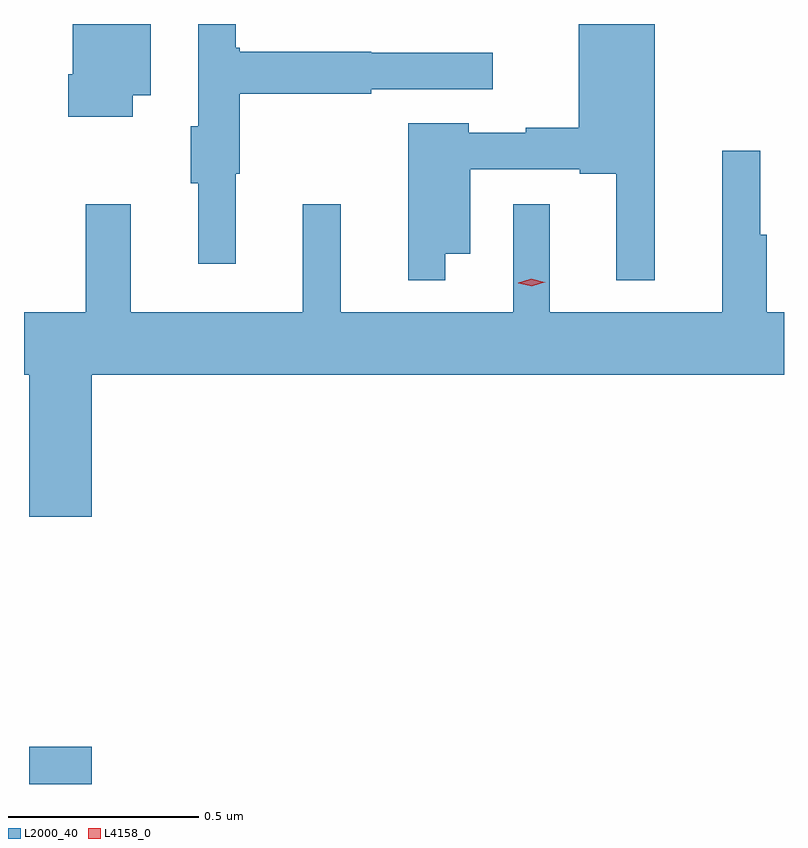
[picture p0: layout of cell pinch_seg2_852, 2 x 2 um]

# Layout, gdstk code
import gdstk
lib = gdstk.Library(unit=1e-6, precision=1e-09)
def R(c, l, rs):  # rectangles x0, y0, x1, y1
    for r in rs: c.add(gdstk.rectangle(r[:2], r[2:], *l))
def P(c, l, *ps):  # polygons
    for p in ps: c.add(gdstk.Polygon(p, *l))
L2000_40 = (2000, 40)
L4158_0 = (4158, 0)

pinch_seg2_852 = lib.new_cell('pinch_seg2_852')
R(pinch_seg2_852, L2000_40, [(728.444,593.279,728.608,593.377)])
P(pinch_seg2_852, L2000_40, [(728.987,594.885),(728.998,594.885),(728.998,595.095),(729.344,595.095),(729.344,595.107),(729.664,595.107),(729.664,595.203),(729.344,595.203),(729.344,595.206),(728.998,595.206),(728.998,595.216),(728.987,595.216),(728.987,595.279),(728.889,595.279),(728.889,595.01),(728.869,595.01),(728.869,594.86),(728.888,594.86),(728.888,594.648),(728.987,594.648)],
  [(729.539,594.674),(729.604,594.674),(729.604,594.897),(729.893,594.897),(729.893,594.885),(729.989,594.885),(729.989,594.605),(730.09,594.605),(730.09,595.279),(729.89,595.279),(729.89,595.006),(729.751,595.006),(729.751,594.993),(729.6,594.993),(729.6,595.018),(729.441,595.018),(729.441,594.605),(729.539,594.605)],
  [(728.716,595.091),(728.764,595.091),(728.764,595.279),(728.558,595.279),(728.558,595.147),(728.546,595.147),(728.546,595.035),(728.716,595.035)],
  [(728.608,594.356),(730.43,594.356),(730.43,594.52),(730.385,594.52),(730.385,594.725),(730.368,594.725),(730.368,594.946),(730.268,594.946),(730.268,594.52),(729.814,594.52),(729.814,594.805),(729.717,594.805),(729.717,594.52),(729.263,594.52),(729.263,594.805),(729.164,594.805),(729.164,594.52),(728.711,594.52),(728.711,594.805),(728.593,594.805),(728.593,594.52),(728.43,594.52),(728.43,594.356),(728.444,594.356),(728.444,593.982),(728.608,593.982)])
P(pinch_seg2_852, L4158_0, [(729.766,594.589),(729.73,594.597),(729.73,594.598),(729.73,594.598),(729.765,594.609),(729.801,594.6),(729.802,594.6),(729.801,594.599)])

lib.write_gds('pinch_seg2_852.gds')
